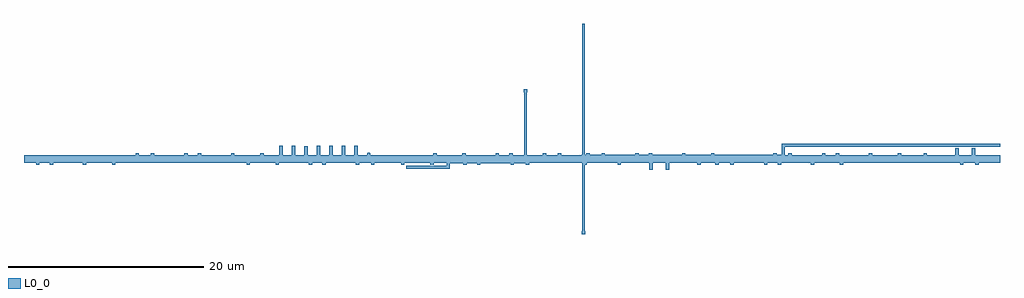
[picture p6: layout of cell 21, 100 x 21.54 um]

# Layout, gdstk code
import gdstk
lib = gdstk.Library(unit=1e-6, precision=1e-09)
def P(c, l, *ps):  # polygons
    for p in ps: c.add(gdstk.Polygon(p, *l))
L0_0 = (0, 0)

c_21 = lib.new_cell('21')
P(c_21, L0_0, [(991.98,986.56),(991.98,985.76),(990.66,985.76),(990.66,986.56),(991.98,986.56)],
  [(975.48,986.56),(975.48,985.76),(974.16,985.76),(974.16,986.56),(975.48,986.56)],
  [(940.5,986.56),(940.5,985.76),(939.18,985.76),(939.18,986.56),(940.5,986.56)],
  [(910.14,986.56),(910.14,985.76),(908.82,985.76),(908.82,986.56),(910.14,986.56)],
  [(956.34,985.76),(956.34,986.56),(957.63,986.56),(957.63,986.735),(957.97,986.735),(957.97,986.56),(959.185,986.56),(959.185,986.735),(959.525,986.735),(959.525,986.56),(962.625,986.56),(962.625,986.735),(962.965,986.735),(962.965,986.56),(964.025,986.56),(964.025,986.735),(964.365,986.735),(964.365,986.56),(967.42,986.56),(967.42,986.735),(967.76,986.735),(967.76,986.56),(970.4,986.56),(970.4,986.735),(970.74,986.735),(970.74,986.56),(971.52,986.56),(971.52,985.76),(956.34,985.76)],
  [(993.96,986.56),(994.62,986.56),(994.62,985.76),(993.96,985.76),(993.96,986.56)],
  [(900,986.56),(1000,986.56),(1000,985.76),(900,985.76),(900,986.56)],
  [(955.68,986.56),(956.34,986.56),(956.34,985.76),(955.68,985.76),(955.68,986.56)],
  [(937.2,986.56),(937.86,986.56),(937.86,985.76),(937.2,985.76),(937.2,986.56)],
  [(953.04,986.56),(953.04,985.76),(951.75,985.76),(951.75,985.585),(951.41,985.585),(951.41,985.76),(950.195,985.76),(950.195,985.585),(949.855,985.585),(949.855,985.76),(946.755,985.76),(946.755,985.585),(946.415,985.585),(946.415,985.76),(945.355,985.76),(945.355,985.585),(945.015,985.585),(945.015,985.76),(941.96,985.76),(941.96,985.585),(941.62,985.585),(941.62,985.76),(938.98,985.76),(938.98,985.585),(938.64,985.585),(938.64,985.76),(937.86,985.76),(937.86,986.56),(953.04,986.56)],
  [(908.82,986.56),(908.82,985.76),(903.54,985.76),(903.54,986.56),(908.82,986.56)],
  [(1000,985.76),(997.805,985.76),(997.805,985.585),(997.465,985.585),(997.465,985.76),(996.25,985.76),(996.25,985.585),(995.91,985.585),(995.91,985.76),(994.62,985.76),(994.62,986.56),(1000,986.56),(1000,985.76)],
  [(910.14,985.76),(910.14,986.56),(911.43,986.56),(911.43,986.735),(911.77,986.735),(911.77,986.56),(912.985,986.56),(912.985,986.735),(913.325,986.735),(913.325,986.56),(916.425,986.56),(916.425,986.735),(916.765,986.735),(916.765,986.56),(917.825,986.56),(917.825,986.735),(918.165,986.735),(918.165,986.56),(921.22,986.56),(921.22,986.735),(921.56,986.735),(921.56,986.56),(924.2,986.56),(924.2,986.735),(924.54,986.735),(924.54,986.56),(925.32,986.56),(925.32,985.76),(910.14,985.76)],
  [(992.64,986.56),(993.96,986.56),(993.96,985.76),(992.64,985.76),(992.64,986.56)],
  [(920.7,986.56),(922.02,986.56),(922.02,985.76),(920.7,985.76),(920.7,986.56)],
  [(900,986.56),(910.14,986.56),(910.14,985.76),(909.36,985.76),(909.36,985.585),(909.02,985.585),(909.02,985.76),(906.38,985.76),(906.38,985.585),(906.04,985.585),(906.04,985.76),(902.985,985.76),(902.985,985.585),(902.645,985.585),(902.645,985.76),(901.585,985.76),(901.585,985.585),(901.245,985.585),(901.245,985.76),(900,985.76),(900,986.56)],
  [(1000,985.76),(991.98,985.76),(991.98,986.56),(992.18,986.56),(992.18,986.735),(992.52,986.735),(992.52,986.56),(995.43,986.56),(995.43,987.24),(995.77,987.24),(995.77,986.56),(997.12,986.56),(997.12,987.24),(997.46,987.24),(997.46,986.56),(1000,986.56),(1000,985.76)],
  [(984.72,986.56),(990,986.56),(990,985.76),(984.72,985.76),(984.72,986.56)],
  [(974.16,986.56),(974.16,985.76),(971.52,985.76),(971.52,986.56),(974.16,986.56)],
  [(975.48,985.76),(975.48,986.56),(976.77,986.56),(976.77,986.735),(977.11,986.735),(977.11,986.56),(978.325,986.56),(978.325,986.735),(978.665,986.735),(978.665,986.56),(981.765,986.56),(981.765,986.735),(982.105,986.735),(982.105,986.56),(983.165,986.56),(983.165,986.735),(983.505,986.735),(983.505,986.56),(986.56,986.56),(986.56,986.735),(986.9,986.735),(986.9,986.56),(989.54,986.56),(989.54,986.735),(989.88,986.735),(989.88,986.56),(990.66,986.56),(990.66,985.76),(975.48,985.76)],
  [(939.18,986.56),(939.18,985.76),(936.54,985.76),(936.54,986.56),(939.18,986.56)],
  [(900,986.56),(903.54,986.56),(903.54,985.76),(900,985.76),(900,986.56)],
  [(910.14,986.56),(920.7,986.56),(920.7,985.76),(910.14,985.76),(910.14,986.56)],
  [(984.72,985.76),(983.94,985.76),(983.94,985.585),(983.6,985.585),(983.6,985.76),(980.96,985.76),(980.96,985.585),(980.62,985.585),(980.62,985.76),(977.565,985.76),(977.565,985.585),(977.225,985.585),(977.225,985.76),(976.165,985.76),(976.165,985.585),(975.825,985.585),(975.825,985.76),(972.725,985.76),(972.725,985.585),(972.385,985.585),(972.385,985.76),(971.17,985.76),(971.17,985.585),(970.83,985.585),(970.83,985.76),(969.54,985.76),(969.54,986.56),(984.72,986.56),(984.72,985.76)],
  [(990,986.56),(992.64,986.56),(992.64,985.76),(990,985.76),(990,986.56)],
  [(941.16,986.56),(941.94,986.56),(941.94,986.735),(942.28,986.735),(942.28,986.56),(944.92,986.56),(944.92,986.735),(945.26,986.735),(945.26,986.56),(948.315,986.56),(948.315,986.735),(948.655,986.735),(948.655,986.56),(949.715,986.56),(949.715,986.735),(950.055,986.735),(950.055,986.56),(953.155,986.56),(953.155,986.735),(953.495,986.735),(953.495,986.56),(954.71,986.56),(954.71,986.735),(955.05,986.735),(955.05,986.56),(956.34,986.56),(956.34,985.76),(941.16,985.76),(941.16,986.56)],
  [(953.04,986.56),(955.68,986.56),(955.68,985.76),(953.04,985.76),(953.04,986.56)],
  [(941.16,986.56),(941.16,985.76),(940.5,985.76),(940.5,986.56),(941.16,986.56)],
  [(925.98,986.56),(925.98,985.76),(925.32,985.76),(925.32,986.56),(925.98,986.56)],
  [(925.98,986.56),(926.16,986.56),(926.16,987.495),(926.5,987.495),(926.5,986.56),(927.44,986.56),(927.44,987.495),(927.78,987.495),(927.78,986.56),(928.72,986.56),(928.72,987.475),(929.06,987.475),(929.06,986.56),(930,986.56),(930,987.525),(930.34,987.525),(930.34,986.56),(931.28,986.56),(931.28,987.525),(931.62,987.525),(931.62,986.56),(932.56,986.56),(932.56,987.525),(932.9,987.525),(932.9,986.56),(933.84,986.56),(933.84,987.525),(934.18,987.525),(934.18,986.56),(935.16,986.56),(935.16,986.735),(935.215,986.735),(935.215,986.79),(935.445,986.79),(935.445,986.735),(935.5,986.735),(935.5,986.56),(936.54,986.56),(936.54,985.76),(925.98,985.76),(925.98,986.56)],
  [(937.2,986.56),(937.2,985.76),(935.91,985.76),(935.91,985.585),(935.57,985.585),(935.57,985.76),(934.355,985.76),(934.355,985.585),(934.015,985.585),(934.015,985.76),(930.915,985.76),(930.915,985.585),(930.575,985.585),(930.575,985.76),(929.515,985.76),(929.515,985.585),(929.175,985.585),(929.175,985.76),(926.12,985.76),(926.12,985.585),(925.78,985.585),(925.78,985.76),(923.14,985.76),(923.14,985.585),(922.8,985.585),(922.8,985.76),(922.02,985.76),(922.02,986.56),(937.2,986.56)],
  [(969.54,985.76),(969.34,985.76),(969.34,985.585),(969,985.585),(969,985.76),(966.09,985.76),(966.09,985.08),(965.75,985.08),(965.75,985.76),(964.4,985.76),(964.4,985.08),(964.06,985.08),(964.06,985.76),(961.15,985.76),(961.15,985.585),(960.81,985.585),(960.81,985.76),(957.67,985.76),(957.67,985.585),(957.33,985.585),(957.33,985.76),(956.34,985.76),(956.34,986.56),(969.54,986.56),(969.54,985.76)],
  [(984.72,985.76),(983.94,985.76),(983.94,985.585),(983.6,985.585),(983.6,985.76),(980.96,985.76),(980.96,985.585),(980.62,985.585),(980.62,985.76),(977.565,985.76),(977.565,985.585),(977.225,985.585),(977.225,985.76),(976.165,985.76),(976.165,985.585),(975.825,985.585),(975.825,985.76),(972.725,985.76),(972.725,985.585),(972.385,985.585),(972.385,985.76),(971.17,985.76),(971.17,985.585),(970.83,985.585),(970.83,985.76),(969.54,985.76),(969.54,986.56),(984.72,986.56),(984.72,985.76)],
  [(953.04,986.56),(955.68,986.56),(955.68,985.76),(953.04,985.76),(953.04,986.56)],
  [(974.16,986.56),(974.16,985.76),(971.52,985.76),(971.52,986.56),(974.16,986.56)],
  [(975.48,986.56),(975.48,985.76),(974.16,985.76),(974.16,986.56),(975.48,986.56)],
  [(941.16,986.56),(941.94,986.56),(941.94,986.735),(942.28,986.735),(942.28,986.56),(944.92,986.56),(944.92,986.735),(945.26,986.735),(945.26,986.56),(948.315,986.56),(948.315,986.735),(948.655,986.735),(948.655,986.56),(949.715,986.56),(949.715,986.735),(950.055,986.735),(950.055,986.56),(953.155,986.56),(953.155,986.735),(953.495,986.735),(953.495,986.56),(954.71,986.56),(954.71,986.735),(955.05,986.735),(955.05,986.56),(956.34,986.56),(956.34,985.76),(941.16,985.76),(941.16,986.56)],
  [(975.48,985.76),(975.48,986.56),(976.77,986.56),(976.77,986.735),(977.11,986.735),(977.11,986.56),(978.325,986.56),(978.325,986.735),(978.665,986.735),(978.665,986.56),(981.765,986.56),(981.765,986.735),(982.105,986.735),(982.105,986.56),(983.165,986.56),(983.165,986.735),(983.505,986.735),(983.505,986.56),(986.56,986.56),(986.56,986.735),(986.9,986.735),(986.9,986.56),(989.54,986.56),(989.54,986.735),(989.88,986.735),(989.88,986.56),(990.66,986.56),(990.66,985.76),(975.48,985.76)],
  [(941.16,986.56),(941.16,985.76),(940.5,985.76),(940.5,986.56),(941.16,986.56)],
  [(940.5,986.56),(940.5,985.76),(939.18,985.76),(939.18,986.56),(940.5,986.56)],
  [(939.18,986.56),(939.18,985.76),(936.54,985.76),(936.54,986.56),(939.18,986.56)],
  [(956.34,985.76),(956.34,986.56),(957.63,986.56),(957.63,986.735),(957.97,986.735),(957.97,986.56),(959.185,986.56),(959.185,986.735),(959.525,986.735),(959.525,986.56),(962.625,986.56),(962.625,986.735),(962.965,986.735),(962.965,986.56),(964.025,986.56),(964.025,986.735),(964.365,986.735),(964.365,986.56),(967.42,986.56),(967.42,986.735),(967.76,986.735),(967.76,986.56),(970.4,986.56),(970.4,986.735),(970.74,986.735),(970.74,986.56),(971.52,986.56),(971.52,985.76),(956.34,985.76)],
  [(955.68,986.56),(956.34,986.56),(956.34,985.76),(955.68,985.76),(955.68,986.56)],
  [(937.2,986.56),(937.86,986.56),(937.86,985.76),(937.2,985.76),(937.2,986.56)],
  [(984.72,986.56),(990,986.56),(990,985.76),(984.72,985.76),(984.72,986.56)],
  [(953.04,986.56),(953.04,985.76),(951.75,985.76),(951.75,985.585),(951.41,985.585),(951.41,985.76),(950.195,985.76),(950.195,985.585),(949.855,985.585),(949.855,985.76),(946.755,985.76),(946.755,985.585),(946.415,985.585),(946.415,985.76),(945.355,985.76),(945.355,985.585),(945.015,985.585),(945.015,985.76),(941.96,985.76),(941.96,985.585),(941.62,985.585),(941.62,985.76),(938.98,985.76),(938.98,985.585),(938.64,985.585),(938.64,985.76),(937.86,985.76),(937.86,986.56),(953.04,986.56)],
  [(969.54,985.76),(969.34,985.76),(969.34,985.585),(969,985.585),(969,985.76),(966.09,985.76),(966.09,985.08),(965.75,985.08),(965.75,985.76),(964.4,985.76),(964.4,985.08),(964.06,985.08),(964.06,985.76),(961.15,985.76),(961.15,985.585),(960.81,985.585),(960.81,985.76),(957.67,985.76),(957.67,985.585),(957.33,985.585),(957.33,985.76),(956.34,985.76),(956.34,986.56),(969.54,986.56),(969.54,985.76)],
  [(990,986.56),(992.64,986.56),(992.64,985.76),(990,985.76),(990,986.56)],
  [(984.72,985.76),(983.94,985.76),(983.94,985.585),(983.6,985.585),(983.6,985.76),(980.96,985.76),(980.96,985.585),(980.62,985.585),(980.62,985.76),(977.565,985.76),(977.565,985.585),(977.225,985.585),(977.225,985.76),(976.165,985.76),(976.165,985.585),(975.825,985.585),(975.825,985.76),(972.725,985.76),(972.725,985.585),(972.385,985.585),(972.385,985.76),(971.17,985.76),(971.17,985.585),(970.83,985.585),(970.83,985.76),(969.54,985.76),(969.54,986.56),(984.72,986.56),(984.72,985.76)],
  [(991.98,986.56),(991.98,985.76),(990.66,985.76),(990.66,986.56),(991.98,986.56)],
  [(974.16,986.56),(974.16,985.76),(971.52,985.76),(971.52,986.56),(974.16,986.56)],
  [(975.48,986.56),(975.48,985.76),(974.16,985.76),(974.16,986.56),(975.48,986.56)],
  [(975.48,985.76),(975.48,986.56),(976.77,986.56),(976.77,986.735),(977.11,986.735),(977.11,986.56),(978.325,986.56),(978.325,986.735),(978.665,986.735),(978.665,986.56),(981.765,986.56),(981.765,986.735),(982.105,986.735),(982.105,986.56),(983.165,986.56),(983.165,986.735),(983.505,986.735),(983.505,986.56),(986.56,986.56),(986.56,986.735),(986.9,986.735),(986.9,986.56),(989.54,986.56),(989.54,986.735),(989.88,986.735),(989.88,986.56),(990.66,986.56),(990.66,985.76),(975.48,985.76)],
  [(956.34,985.76),(956.34,986.56),(957.63,986.56),(957.63,986.735),(957.97,986.735),(957.97,986.56),(959.185,986.56),(959.185,986.735),(959.525,986.735),(959.525,986.56),(962.625,986.56),(962.625,986.735),(962.965,986.735),(962.965,986.56),(964.025,986.56),(964.025,986.735),(964.365,986.735),(964.365,986.56),(967.42,986.56),(967.42,986.735),(967.76,986.735),(967.76,986.56),(970.4,986.56),(970.4,986.735),(970.74,986.735),(970.74,986.56),(971.52,986.56),(971.52,985.76),(956.34,985.76)],
  [(992.64,986.56),(993.96,986.56),(993.96,985.76),(992.64,985.76),(992.64,986.56)],
  [(993.96,986.56),(994.62,986.56),(994.62,985.76),(993.96,985.76),(993.96,986.56)],
  [(955.68,986.56),(956.34,986.56),(956.34,985.76),(955.68,985.76),(955.68,986.56)],
  [(984.72,986.56),(990,986.56),(990,985.76),(984.72,985.76),(984.72,986.56)],
  [(990,986.56),(992.64,986.56),(992.64,985.76),(990,985.76),(990,986.56)],
  [(984.72,985.76),(983.94,985.76),(983.94,985.585),(983.6,985.585),(983.6,985.76),(980.96,985.76),(980.96,985.585),(980.62,985.585),(980.62,985.76),(977.565,985.76),(977.565,985.585),(977.225,985.585),(977.225,985.76),(976.165,985.76),(976.165,985.585),(975.825,985.585),(975.825,985.76),(972.725,985.76),(972.725,985.585),(972.385,985.585),(972.385,985.76),(971.17,985.76),(971.17,985.585),(970.83,985.585),(970.83,985.76),(969.54,985.76),(969.54,986.56),(984.72,986.56),(984.72,985.76)],
  [(991.98,986.56),(991.98,985.76),(990.66,985.76),(990.66,986.56),(991.98,986.56)],
  [(974.16,986.56),(974.16,985.76),(971.52,985.76),(971.52,986.56),(974.16,986.56)],
  [(975.48,986.56),(975.48,985.76),(974.16,985.76),(974.16,986.56),(975.48,986.56)],
  [(975.48,985.76),(975.48,986.56),(976.77,986.56),(976.77,986.735),(977.11,986.735),(977.11,986.56),(978.325,986.56),(978.325,986.735),(978.665,986.735),(978.665,986.56),(981.765,986.56),(981.765,986.735),(982.105,986.735),(982.105,986.56),(983.165,986.56),(983.165,986.735),(983.505,986.735),(983.505,986.56),(986.56,986.56),(986.56,986.735),(986.9,986.735),(986.9,986.56),(989.54,986.56),(989.54,986.735),(989.88,986.735),(989.88,986.56),(990.66,986.56),(990.66,985.76),(975.48,985.76)],
  [(941.16,986.56),(941.94,986.56),(941.94,986.735),(942.28,986.735),(942.28,986.56),(944.92,986.56),(944.92,986.735),(945.26,986.735),(945.26,986.56),(948.315,986.56),(948.315,986.735),(948.655,986.735),(948.655,986.56),(949.715,986.56),(949.715,986.735),(950.055,986.735),(950.055,986.56),(953.155,986.56),(953.155,986.735),(953.495,986.735),(953.495,986.56),(954.71,986.56),(954.71,986.735),(955.05,986.735),(955.05,986.56),(956.34,986.56),(956.34,985.76),(941.16,985.76),(941.16,986.56)],
  [(956.34,985.76),(956.34,986.56),(957.63,986.56),(957.63,986.735),(957.97,986.735),(957.97,986.56),(959.185,986.56),(959.185,986.735),(959.525,986.735),(959.525,986.56),(962.625,986.56),(962.625,986.735),(962.965,986.735),(962.965,986.56),(964.025,986.56),(964.025,986.735),(964.365,986.735),(964.365,986.56),(967.42,986.56),(967.42,986.735),(967.76,986.735),(967.76,986.56),(970.4,986.56),(970.4,986.735),(970.74,986.735),(970.74,986.56),(971.52,986.56),(971.52,985.76),(956.34,985.76)],
  [(955.68,986.56),(956.34,986.56),(956.34,985.76),(955.68,985.76),(955.68,986.56)],
  [(953.04,986.56),(955.68,986.56),(955.68,985.76),(953.04,985.76),(953.04,986.56)],
  [(941.16,986.56),(941.94,986.56),(941.94,986.735),(942.28,986.735),(942.28,986.56),(944.92,986.56),(944.92,986.735),(945.26,986.735),(945.26,986.56),(948.315,986.56),(948.315,986.735),(948.655,986.735),(948.655,986.56),(949.715,986.56),(949.715,986.735),(950.055,986.735),(950.055,986.56),(953.155,986.56),(953.155,986.735),(953.495,986.735),(953.495,986.56),(954.71,986.56),(954.71,986.735),(955.05,986.735),(955.05,986.56),(956.34,986.56),(956.34,985.76),(941.16,985.76),(941.16,986.56)],
  [(939.18,986.56),(939.18,985.76),(936.54,985.76),(936.54,986.56),(939.18,986.56)],
  [(940.5,986.56),(940.5,985.76),(939.18,985.76),(939.18,986.56),(940.5,986.56)],
  [(941.16,986.56),(941.16,985.76),(940.5,985.76),(940.5,986.56),(941.16,986.56)],
  [(910.14,985.76),(910.14,986.56),(911.43,986.56),(911.43,986.735),(911.77,986.735),(911.77,986.56),(912.985,986.56),(912.985,986.735),(913.325,986.735),(913.325,986.56),(916.425,986.56),(916.425,986.735),(916.765,986.735),(916.765,986.56),(917.825,986.56),(917.825,986.735),(918.165,986.735),(918.165,986.56),(921.22,986.56),(921.22,986.735),(921.56,986.735),(921.56,986.56),(924.2,986.56),(924.2,986.735),(924.54,986.735),(924.54,986.56),(925.32,986.56),(925.32,985.76),(910.14,985.76)],
  [(910.14,986.56),(910.14,985.76),(908.82,985.76),(908.82,986.56),(910.14,986.56)],
  [(925.98,986.56),(926.16,986.56),(926.16,987.495),(926.5,987.495),(926.5,986.56),(927.44,986.56),(927.44,987.495),(927.78,987.495),(927.78,986.56),(928.72,986.56),(928.72,987.475),(929.06,987.475),(929.06,986.56),(930,986.56),(930,987.525),(930.34,987.525),(930.34,986.56),(931.28,986.56),(931.28,987.525),(931.62,987.525),(931.62,986.56),(932.56,986.56),(932.56,987.525),(932.9,987.525),(932.9,986.56),(933.84,986.56),(933.84,987.525),(934.18,987.525),(934.18,986.56),(935.16,986.56),(935.16,986.735),(935.215,986.735),(935.215,986.79),(935.445,986.79),(935.445,986.735),(935.5,986.735),(935.5,986.56),(936.54,986.56),(936.54,985.76),(925.98,985.76),(925.98,986.56)],
  [(925.98,986.56),(925.98,985.76),(925.32,985.76),(925.32,986.56),(925.98,986.56)],
  [(920.7,986.56),(922.02,986.56),(922.02,985.76),(920.7,985.76),(920.7,986.56)],
  [(953.04,986.56),(953.04,985.76),(951.75,985.76),(951.75,985.585),(951.41,985.585),(951.41,985.76),(950.195,985.76),(950.195,985.585),(949.855,985.585),(949.855,985.76),(946.755,985.76),(946.755,985.585),(946.415,985.585),(946.415,985.76),(945.355,985.76),(945.355,985.585),(945.015,985.585),(945.015,985.76),(941.96,985.76),(941.96,985.585),(941.62,985.585),(941.62,985.76),(938.98,985.76),(938.98,985.585),(938.64,985.585),(938.64,985.76),(937.86,985.76),(937.86,986.56),(953.04,986.56)],
  [(955.68,986.56),(956.34,986.56),(956.34,985.76),(955.68,985.76),(955.68,986.56)],
  [(937.2,986.56),(937.86,986.56),(937.86,985.76),(937.2,985.76),(937.2,986.56)],
  [(910.14,986.56),(920.7,986.56),(920.7,985.76),(910.14,985.76),(910.14,986.56)],
  [(937.2,986.56),(937.2,985.76),(935.91,985.76),(935.91,985.585),(935.57,985.585),(935.57,985.76),(934.355,985.76),(934.355,985.585),(934.015,985.585),(934.015,985.76),(930.915,985.76),(930.915,985.585),(930.575,985.585),(930.575,985.76),(929.515,985.76),(929.515,985.585),(929.175,985.585),(929.175,985.76),(926.12,985.76),(926.12,985.585),(925.78,985.585),(925.78,985.76),(923.14,985.76),(923.14,985.585),(922.8,985.585),(922.8,985.76),(922.02,985.76),(922.02,986.56),(937.2,986.56)],
  [(984.72,985.76),(983.94,985.76),(983.94,985.585),(983.6,985.585),(983.6,985.76),(980.96,985.76),(980.96,985.585),(980.62,985.585),(980.62,985.76),(977.565,985.76),(977.565,985.585),(977.225,985.585),(977.225,985.76),(976.165,985.76),(976.165,985.585),(975.825,985.585),(975.825,985.76),(972.725,985.76),(972.725,985.585),(972.385,985.585),(972.385,985.76),(971.17,985.76),(971.17,985.585),(970.83,985.585),(970.83,985.76),(969.54,985.76),(969.54,986.56),(984.72,986.56),(984.72,985.76)],
  [(990,986.56),(992.64,986.56),(992.64,985.76),(990,985.76),(990,986.56)],
  [(991.98,986.56),(991.98,985.76),(990.66,985.76),(990.66,986.56),(991.98,986.56)],
  [(975.48,986.56),(975.48,985.76),(974.16,985.76),(974.16,986.56),(975.48,986.56)],
  [(975.48,985.76),(975.48,986.56),(976.77,986.56),(976.77,986.735),(977.11,986.735),(977.11,986.56),(978.325,986.56),(978.325,986.735),(978.665,986.735),(978.665,986.56),(981.765,986.56),(981.765,986.735),(982.105,986.735),(982.105,986.56),(983.165,986.56),(983.165,986.735),(983.505,986.735),(983.505,986.56),(986.56,986.56),(986.56,986.735),(986.9,986.735),(986.9,986.56),(989.54,986.56),(989.54,986.735),(989.88,986.735),(989.88,986.56),(990.66,986.56),(990.66,985.76),(975.48,985.76)],
  [(956.34,985.76),(956.34,986.56),(957.63,986.56),(957.63,986.735),(957.97,986.735),(957.97,986.56),(959.185,986.56),(959.185,986.735),(959.525,986.735),(959.525,986.56),(962.625,986.56),(962.625,986.735),(962.965,986.735),(962.965,986.56),(964.025,986.56),(964.025,986.735),(964.365,986.735),(964.365,986.56),(967.42,986.56),(967.42,986.735),(967.76,986.735),(967.76,986.56),(970.4,986.56),(970.4,986.735),(970.74,986.735),(970.74,986.56),(971.52,986.56),(971.52,985.76),(956.34,985.76)],
  [(992.64,986.56),(993.96,986.56),(993.96,985.76),(992.64,985.76),(992.64,986.56)],
  [(953.04,986.56),(955.68,986.56),(955.68,985.76),(953.04,985.76),(953.04,986.56)],
  [(941.16,986.56),(941.94,986.56),(941.94,986.735),(942.28,986.735),(942.28,986.56),(944.92,986.56),(944.92,986.735),(945.26,986.735),(945.26,986.56),(948.315,986.56),(948.315,986.735),(948.655,986.735),(948.655,986.56),(949.715,986.56),(949.715,986.735),(950.055,986.735),(950.055,986.56),(953.155,986.56),(953.155,986.735),(953.495,986.735),(953.495,986.56),(954.71,986.56),(954.71,986.735),(955.05,986.735),(955.05,986.56),(956.34,986.56),(956.34,985.76),(941.16,985.76),(941.16,986.56)],
  [(940.5,986.56),(940.5,985.76),(939.18,985.76),(939.18,986.56),(940.5,986.56)],
  [(941.16,986.56),(941.16,985.76),(940.5,985.76),(940.5,986.56),(941.16,986.56)],
  [(956.34,985.76),(956.34,986.56),(957.63,986.56),(957.63,986.735),(957.97,986.735),(957.97,986.56),(959.185,986.56),(959.185,986.735),(959.525,986.735),(959.525,986.56),(962.625,986.56),(962.625,986.735),(962.965,986.735),(962.965,986.56),(964.025,986.56),(964.025,986.735),(964.365,986.735),(964.365,986.56),(967.42,986.56),(967.42,986.735),(967.76,986.735),(967.76,986.56),(970.4,986.56),(970.4,986.735),(970.74,986.735),(970.74,986.56),(971.52,986.56),(971.52,985.76),(956.34,985.76)],
  [(955.68,986.56),(956.34,986.56),(956.34,985.76),(955.68,985.76),(955.68,986.56)],
  [(937.2,986.56),(937.86,986.56),(937.86,985.76),(937.2,985.76),(937.2,986.56)],
  [(953.04,986.56),(953.04,985.76),(951.75,985.76),(951.75,985.585),(951.41,985.585),(951.41,985.76),(950.195,985.76),(950.195,985.585),(949.855,985.585),(949.855,985.76),(946.755,985.76),(946.755,985.585),(946.415,985.585),(946.415,985.76),(945.355,985.76),(945.355,985.585),(945.015,985.585),(945.015,985.76),(941.96,985.76),(941.96,985.585),(941.62,985.585),(941.62,985.76),(938.98,985.76),(938.98,985.585),(938.64,985.585),(938.64,985.76),(937.86,985.76),(937.86,986.56),(953.04,986.56)],
  [(984.72,985.76),(983.94,985.76),(983.94,985.585),(983.6,985.585),(983.6,985.76),(980.96,985.76),(980.96,985.585),(980.62,985.585),(980.62,985.76),(977.565,985.76),(977.565,985.585),(977.225,985.585),(977.225,985.76),(976.165,985.76),(976.165,985.585),(975.825,985.585),(975.825,985.76),(972.725,985.76),(972.725,985.585),(972.385,985.585),(972.385,985.76),(971.17,985.76),(971.17,985.585),(970.83,985.585),(970.83,985.76),(969.54,985.76),(969.54,986.56),(984.72,986.56),(984.72,985.76)],
  [(991.98,986.56),(991.98,985.76),(990.66,985.76),(990.66,986.56),(991.98,986.56)],
  [(975.48,986.56),(975.48,985.76),(974.16,985.76),(974.16,986.56),(975.48,986.56)],
  [(975.48,985.76),(975.48,986.56),(976.77,986.56),(976.77,986.735),(977.11,986.735),(977.11,986.56),(978.325,986.56),(978.325,986.735),(978.665,986.735),(978.665,986.56),(981.765,986.56),(981.765,986.735),(982.105,986.735),(982.105,986.56),(983.165,986.56),(983.165,986.735),(983.505,986.735),(983.505,986.56),(986.56,986.56),(986.56,986.735),(986.9,986.735),(986.9,986.56),(989.54,986.56),(989.54,986.735),(989.88,986.735),(989.88,986.56),(990.66,986.56),(990.66,985.76),(975.48,985.76)],
  [(956.34,985.76),(956.34,986.56),(957.63,986.56),(957.63,986.735),(957.97,986.735),(957.97,986.56),(959.185,986.56),(959.185,986.735),(959.525,986.735),(959.525,986.56),(962.625,986.56),(962.625,986.735),(962.965,986.735),(962.965,986.56),(964.025,986.56),(964.025,986.735),(964.365,986.735),(964.365,986.56),(967.42,986.56),(967.42,986.735),(967.76,986.735),(967.76,986.56),(970.4,986.56),(970.4,986.735),(970.74,986.735),(970.74,986.56),(971.52,986.56),(971.52,985.76),(956.34,985.76)],
  [(984.72,985.76),(983.94,985.76),(983.94,985.585),(983.6,985.585),(983.6,985.76),(980.96,985.76),(980.96,985.585),(980.62,985.585),(980.62,985.76),(977.565,985.76),(977.565,985.585),(977.225,985.585),(977.225,985.76),(976.165,985.76),(976.165,985.585),(975.825,985.585),(975.825,985.76),(972.725,985.76),(972.725,985.585),(972.385,985.585),(972.385,985.76),(971.17,985.76),(971.17,985.585),(970.83,985.585),(970.83,985.76),(969.54,985.76),(969.54,986.56),(984.72,986.56),(984.72,985.76)],
  [(975.48,986.56),(975.48,985.76),(974.16,985.76),(974.16,986.56),(975.48,986.56)],
  [(975.48,985.76),(975.48,986.56),(976.77,986.56),(976.77,986.735),(977.11,986.735),(977.11,986.56),(978.325,986.56),(978.325,986.735),(978.665,986.735),(978.665,986.56),(981.765,986.56),(981.765,986.735),(982.105,986.735),(982.105,986.56),(983.165,986.56),(983.165,986.735),(983.505,986.735),(983.505,986.56),(986.56,986.56),(986.56,986.735),(986.9,986.735),(986.9,986.56),(989.54,986.56),(989.54,986.735),(989.88,986.735),(989.88,986.56),(990.66,986.56),(990.66,985.76),(975.48,985.76)],
  [(956.34,985.76),(956.34,986.56),(957.63,986.56),(957.63,986.735),(957.97,986.735),(957.97,986.56),(959.185,986.56),(959.185,986.735),(959.525,986.735),(959.525,986.56),(962.625,986.56),(962.625,986.735),(962.965,986.735),(962.965,986.56),(964.025,986.56),(964.025,986.735),(964.365,986.735),(964.365,986.56),(967.42,986.56),(967.42,986.735),(967.76,986.735),(967.76,986.56),(970.4,986.56),(970.4,986.735),(970.74,986.735),(970.74,986.56),(971.52,986.56),(971.52,985.76),(956.34,985.76)],
  [(955.68,986.56),(956.34,986.56),(956.34,985.76),(955.68,985.76),(955.68,986.56)],
  [(941.16,986.56),(941.94,986.56),(941.94,986.735),(942.28,986.735),(942.28,986.56),(944.92,986.56),(944.92,986.735),(945.26,986.735),(945.26,986.56),(948.315,986.56),(948.315,986.735),(948.655,986.735),(948.655,986.56),(949.715,986.56),(949.715,986.735),(950.055,986.735),(950.055,986.56),(953.155,986.56),(953.155,986.735),(953.495,986.735),(953.495,986.56),(954.71,986.56),(954.71,986.735),(955.05,986.735),(955.05,986.56),(956.34,986.56),(956.34,985.76),(941.16,985.76),(941.16,986.56)],
  [(940.5,986.56),(940.5,985.76),(939.18,985.76),(939.18,986.56),(940.5,986.56)],
  [(941.16,986.56),(941.16,985.76),(940.5,985.76),(940.5,986.56),(941.16,986.56)],
  [(955.68,986.56),(956.34,986.56),(956.34,985.76),(955.68,985.76),(955.68,986.56)],
  [(937.2,986.56),(937.86,986.56),(937.86,985.76),(937.2,985.76),(937.2,986.56)],
  [(953.04,986.56),(953.04,985.76),(951.75,985.76),(951.75,985.585),(951.41,985.585),(951.41,985.76),(950.195,985.76),(950.195,985.585),(949.855,985.585),(949.855,985.76),(946.755,985.76),(946.755,985.585),(946.415,985.585),(946.415,985.76),(945.355,985.76),(945.355,985.585),(945.015,985.585),(945.015,985.76),(941.96,985.76),(941.96,985.585),(941.62,985.585),(941.62,985.76),(938.98,985.76),(938.98,985.585),(938.64,985.585),(938.64,985.76),(937.86,985.76),(937.86,986.56),(953.04,986.56)],
  [(941.16,986.56),(941.94,986.56),(941.94,986.735),(942.28,986.735),(942.28,986.56),(944.92,986.56),(944.92,986.735),(945.26,986.735),(945.26,986.56),(948.315,986.56),(948.315,986.735),(948.655,986.735),(948.655,986.56),(949.715,986.56),(949.715,986.735),(950.055,986.735),(950.055,986.56),(953.155,986.56),(953.155,986.735),(953.495,986.735),(953.495,986.56),(954.71,986.56),(954.71,986.735),(955.05,986.735),(955.05,986.56),(956.34,986.56),(956.34,985.76),(941.16,985.76),(941.16,986.56)],
  [(941.16,986.56),(941.16,985.76),(940.5,985.76),(940.5,986.56),(941.16,986.56)],
  [(956.34,985.76),(956.34,986.56),(957.63,986.56),(957.63,986.735),(957.97,986.735),(957.97,986.56),(959.185,986.56),(959.185,986.735),(959.525,986.735),(959.525,986.56),(962.625,986.56),(962.625,986.735),(962.965,986.735),(962.965,986.56),(964.025,986.56),(964.025,986.735),(964.365,986.735),(964.365,986.56),(967.42,986.56),(967.42,986.735),(967.76,986.735),(967.76,986.56),(970.4,986.56),(970.4,986.735),(970.74,986.735),(970.74,986.56),(971.52,986.56),(971.52,985.76),(956.34,985.76)],
  [(955.68,986.56),(956.34,986.56),(956.34,985.76),(955.68,985.76),(955.68,986.56)],
  [(937.2,986.56),(937.86,986.56),(937.86,985.76),(937.2,985.76),(937.2,986.56)],
  [(953.04,986.56),(953.04,985.76),(951.75,985.76),(951.75,985.585),(951.41,985.585),(951.41,985.76),(950.195,985.76),(950.195,985.585),(949.855,985.585),(949.855,985.76),(946.755,985.76),(946.755,985.585),(946.415,985.585),(946.415,985.76),(945.355,985.76),(945.355,985.585),(945.015,985.585),(945.015,985.76),(941.96,985.76),(941.96,985.585),(941.62,985.585),(941.62,985.76),(938.98,985.76),(938.98,985.585),(938.64,985.585),(938.64,985.76),(937.86,985.76),(937.86,986.56),(953.04,986.56)],
  [(941.16,986.56),(941.94,986.56),(941.94,986.735),(942.28,986.735),(942.28,986.56),(944.92,986.56),(944.92,986.735),(945.26,986.735),(945.26,986.56),(948.315,986.56),(948.315,986.735),(948.655,986.735),(948.655,986.56),(949.715,986.56),(949.715,986.735),(950.055,986.735),(950.055,986.56),(953.155,986.56),(953.155,986.735),(953.495,986.735),(953.495,986.56),(954.71,986.56),(954.71,986.735),(955.05,986.735),(955.05,986.56),(956.34,986.56),(956.34,985.76),(941.16,985.76),(941.16,986.56)],
  [(975.48,985.76),(975.48,986.56),(976.77,986.56),(976.77,986.735),(977.11,986.735),(977.11,986.56),(978.325,986.56),(978.325,986.735),(978.665,986.735),(978.665,986.56),(981.765,986.56),(981.765,986.735),(982.105,986.735),(982.105,986.56),(983.165,986.56),(983.165,986.735),(983.505,986.735),(983.505,986.56),(986.56,986.56),(986.56,986.735),(986.9,986.735),(986.9,986.56),(989.54,986.56),(989.54,986.735),(989.88,986.735),(989.88,986.56),(990.66,986.56),(990.66,985.76),(975.48,985.76)],
  [(956.34,985.76),(956.34,986.56),(957.63,986.56),(957.63,986.735),(957.97,986.735),(957.97,986.56),(959.185,986.56),(959.185,986.735),(959.525,986.735),(959.525,986.56),(962.625,986.56),(962.625,986.735),(962.965,986.735),(962.965,986.56),(964.025,986.56),(964.025,986.735),(964.365,986.735),(964.365,986.56),(967.42,986.56),(967.42,986.735),(967.76,986.735),(967.76,986.56),(970.4,986.56),(970.4,986.735),(970.74,986.735),(970.74,986.56),(971.52,986.56),(971.52,985.76),(956.34,985.76)],
  [(955.68,986.56),(956.34,986.56),(956.34,985.76),(955.68,985.76),(955.68,986.56)],
  [(937.2,986.56),(937.86,986.56),(937.86,985.76),(937.2,985.76),(937.2,986.56)],
  [(953.04,986.56),(953.04,985.76),(951.75,985.76),(951.75,985.585),(951.41,985.585),(951.41,985.76),(950.195,985.76),(950.195,985.585),(949.855,985.585),(949.855,985.76),(946.755,985.76),(946.755,985.585),(946.415,985.585),(946.415,985.76),(945.355,985.76),(945.355,985.585),(945.015,985.585),(945.015,985.76),(941.96,985.76),(941.96,985.585),(941.62,985.585),(941.62,985.76),(938.98,985.76),(938.98,985.585),(938.64,985.585),(938.64,985.76),(937.86,985.76),(937.86,986.56),(953.04,986.56)],
  [(937.2,986.56),(937.86,986.56),(937.86,985.76),(937.2,985.76),(937.2,986.56)],
  [(984.72,985.76),(983.94,985.76),(983.94,985.585),(983.6,985.585),(983.6,985.76),(980.96,985.76),(980.96,985.585),(980.62,985.585),(980.62,985.76),(977.565,985.76),(977.565,985.585),(977.225,985.585),(977.225,985.76),(976.165,985.76),(976.165,985.585),(975.825,985.585),(975.825,985.76),(972.725,985.76),(972.725,985.585),(972.385,985.585),(972.385,985.76),(971.17,985.76),(971.17,985.585),(970.83,985.585),(970.83,985.76),(969.54,985.76),(969.54,986.56),(984.72,986.56),(984.72,985.76)],
  [(956.34,985.76),(956.34,986.56),(957.63,986.56),(957.63,986.735),(957.97,986.735),(957.97,986.56),(959.185,986.56),(959.185,986.735),(959.525,986.735),(959.525,986.56),(962.625,986.56),(962.625,986.735),(962.965,986.735),(962.965,986.56),(964.025,986.56),(964.025,986.735),(964.365,986.735),(964.365,986.56),(967.42,986.56),(967.42,986.735),(967.76,986.735),(967.76,986.56),(970.4,986.56),(970.4,986.735),(970.74,986.735),(970.74,986.56),(971.52,986.56),(971.52,985.76),(956.34,985.76)],
  [(975.48,985.76),(975.48,986.56),(976.77,986.56),(976.77,986.735),(977.11,986.735),(977.11,986.56),(978.325,986.56),(978.325,986.735),(978.665,986.735),(978.665,986.56),(981.765,986.56),(981.765,986.735),(982.105,986.735),(982.105,986.56),(983.165,986.56),(983.165,986.735),(983.505,986.735),(983.505,986.56),(986.56,986.56),(986.56,986.735),(986.9,986.735),(986.9,986.56),(989.54,986.56),(989.54,986.735),(989.88,986.735),(989.88,986.56),(990.66,986.56),(990.66,985.76),(975.48,985.76)],
  [(941.16,986.56),(941.94,986.56),(941.94,986.735),(942.28,986.735),(942.28,986.56),(944.92,986.56),(944.92,986.735),(945.26,986.735),(945.26,986.56),(948.315,986.56),(948.315,986.735),(948.655,986.735),(948.655,986.56),(949.715,986.56),(949.715,986.735),(950.055,986.735),(950.055,986.56),(953.155,986.56),(953.155,986.735),(953.495,986.735),(953.495,986.56),(954.71,986.56),(954.71,986.735),(955.05,986.735),(955.05,986.56),(956.34,986.56),(956.34,985.76),(941.16,985.76),(941.16,986.56)],
  [(953.04,986.56),(953.04,985.76),(951.75,985.76),(951.75,985.585),(951.41,985.585),(951.41,985.76),(950.195,985.76),(950.195,985.585),(949.855,985.585),(949.855,985.76),(946.755,985.76),(946.755,985.585),(946.415,985.585),(946.415,985.76),(945.355,985.76),(945.355,985.585),(945.015,985.585),(945.015,985.76),(941.96,985.76),(941.96,985.585),(941.62,985.585),(941.62,985.76),(938.98,985.76),(938.98,985.585),(938.64,985.585),(938.64,985.76),(937.86,985.76),(937.86,986.56),(953.04,986.56)],
  [(951.25,985.74),(951.25,993.3),(951.53,993.3),(951.53,985.74),(951.25,985.74)],
  [(951.2,986.02),(951.58,986.02),(951.58,985.74),(951.2,985.74),(951.2,986.02)],
  [(951.2,993.3),(951.58,993.3),(951.58,993.02),(951.2,993.02),(951.2,993.3)],
  [(957.47,1000),(957.47,986.3),(957.19,986.3),(957.19,1000),(957.47,1000)],
  [(957.14,978.74),(957.52,978.74),(957.52,978.46),(957.14,978.46),(957.14,978.74)],
  [(957.19,978.46),(957.19,986.58),(957.47,986.58),(957.47,978.46),(957.19,978.46)],
  [(957.14,986.58),(957.52,986.58),(957.52,986.3),(957.14,986.3),(957.14,986.58)],
  [(957.14,978.74),(957.52,978.74),(957.52,978.46),(957.14,978.46),(957.14,978.74)],
  [(957.19,978.46),(957.19,986.58),(957.47,986.58),(957.47,978.46),(957.19,978.46)],
  [(957.14,986.58),(957.52,986.58),(957.52,986.3),(957.14,986.3),(957.14,986.58)],
  [(951.2,986.02),(951.58,986.02),(951.58,985.74),(951.2,985.74),(951.2,986.02)],
  [(939.14,985.46),(939.88,985.46),(939.88,985.18),(939.14,985.18),(939.14,985.46)],
  [(939.32,985.46),(939.7,985.46),(939.7,985.18),(939.32,985.18),(939.32,985.46)],
  [(939.37,985.46),(943.61,985.46),(943.61,985.18),(939.37,985.18),(939.37,985.46)],
  [(943.33,985.18),(943.33,986.02),(943.61,986.02),(943.61,985.18),(943.33,985.18)],
  [(943.33,986.02),(951.53,986.02),(951.53,985.74),(943.33,985.74),(943.33,986.02)],
  [(943.33,985.18),(943.33,986.02),(943.61,986.02),(943.61,985.18),(943.33,985.18)],
  [(943.33,986.02),(951.53,986.02),(951.53,985.74),(943.33,985.74),(943.33,986.02)],
  [(951.2,986.02),(951.58,986.02),(951.58,985.74),(951.2,985.74),(951.2,986.02)],
  [(943.33,986.02),(951.53,986.02),(951.53,985.74),(943.33,985.74),(943.33,986.02)],
  [(996.08,987.7),(996.46,987.7),(996.46,987.42),(996.08,987.42),(996.08,987.7)],
  [(1000,987.42),(996.13,987.42),(996.13,987.7),(1000,987.7),(1000,987.42)],
  [(977.65,987.7),(996.41,987.7),(996.41,987.42),(977.65,987.42),(977.65,987.7)],
  [(977.65,986.3),(977.65,987.7),(977.93,987.7),(977.93,986.3),(977.65,986.3)],
  [(957.19,986.58),(977.93,986.58),(977.93,986.3),(957.19,986.3),(957.19,986.58)],
  [(977.65,986.3),(977.65,987.7),(977.93,987.7),(977.93,986.3),(977.65,986.3)],
  [(957.14,986.58),(957.52,986.58),(957.52,986.3),(957.14,986.3),(957.14,986.58)],
  [(996.08,987.7),(996.46,987.7),(996.46,987.42),(996.08,987.42),(996.08,987.7)],
  [(977.65,987.7),(996.41,987.7),(996.41,987.42),(977.65,987.42),(977.65,987.7)],
  [(977.65,986.3),(977.65,987.7),(977.93,987.7),(977.93,986.3),(977.65,986.3)],
  [(957.19,986.58),(977.93,986.58),(977.93,986.3),(957.19,986.3),(957.19,986.58)],
  [(957.14,986.58),(957.52,986.58),(957.52,986.3),(957.14,986.3),(957.14,986.58)],
  [(957.19,986.58),(977.93,986.58),(977.93,986.3),(957.19,986.3),(957.19,986.58)])

lib.write_gds('21.gds')
